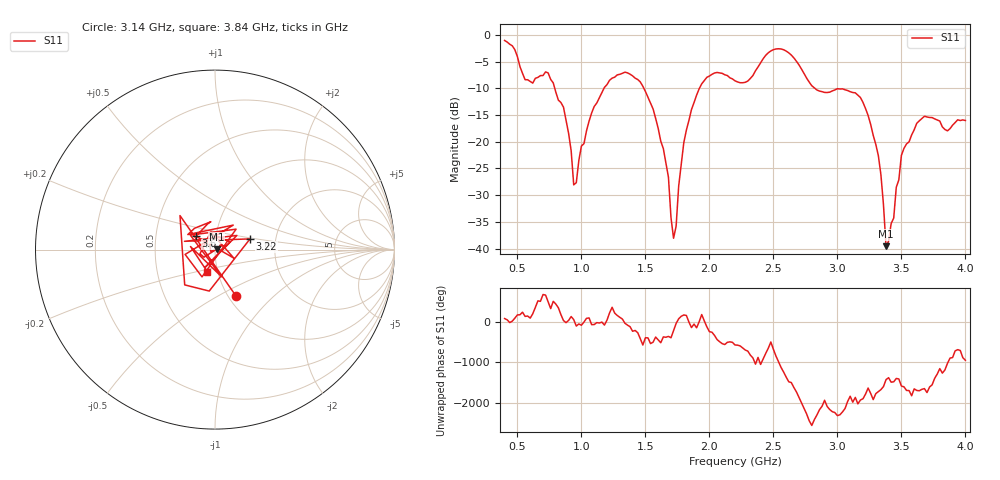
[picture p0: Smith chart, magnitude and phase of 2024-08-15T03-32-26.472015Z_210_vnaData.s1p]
!Created with skrf (http://scikit-rf.org).
# Hz S RI R 50.0
!freq ReS11 ImS11
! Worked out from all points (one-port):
!   181 points, 400 MHz to 4 GHz, reference 50 ohm
!   lowest |S11| = -39.5 dB at 3.38 GHz (marker M1), VSWR 1.02, Z = 51 + j0.229 ohm
!   |S11| at or under -10 dB: 791.7 MHz to 1.177 GHz (384.9 MHz wide, 39.1 % of centre); 1.488 GHz to 1.922 GHz (434.4 MHz wide, 25.5 % of centre); 2.824 GHz to end of sweep
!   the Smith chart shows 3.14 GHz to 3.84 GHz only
!   S11 on the Smith chart (normalised r, x): 3.14 GHz: 1.09, -0.62; 3.22 GHz: 1.47, +0.18; 3.6 GHz: 0.80, +0.12; 3.84 GHz: 0.89, -0.22
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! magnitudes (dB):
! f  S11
! 400 MHz  -1.1
! 560 MHz  -8.4
! 740 MHz  -7.1
! 860 MHz  -13.5
! 940 MHz  -28.1
! 1.1 GHz  -13.4
! 1.3 GHz  -7.4
! 1.56 GHz  -13.9
! 1.68 GHz  -26.6
! 1.72 GHz  -38.0
! 1.76 GHz  -28.3
! 1.82 GHz  -17.8
! 1.94 GHz  -9.2
! 2.2 GHz  -8.6
! 2.5 GHz  -2.8
! 2.66 GHz  -4.3
! 2.84 GHz  -10.3
! 3.1 GHz  -10.6
! 3.14 GHz  -10.9
! 3.22 GHz  -13.8
! 3.32 GHz  -22.6
! 3.38 GHz  -39.5
! 3.44 GHz  -34.3
! 3.5 GHz  -22.6
! 3.56 GHz  -20.0
! 3.6 GHz  -17.8
! 3.84 GHz  -17.7
! 4 GHz  -16.0
